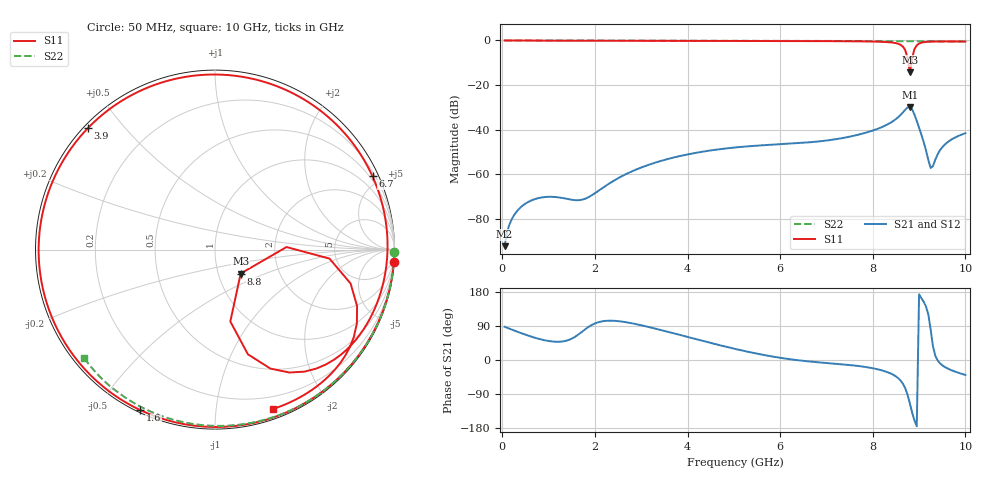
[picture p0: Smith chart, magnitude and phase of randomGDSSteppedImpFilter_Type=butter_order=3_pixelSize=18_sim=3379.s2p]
! freq	dB(S11)	phase(S11)	dB(S12)	phase(S12)
!  dB(S21)	phase(S21)	dB(S22)	phase(S22)
!S-par simulation data
#  GHz  S  DB  R 50
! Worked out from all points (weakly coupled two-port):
!   200 points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, 50 MHz to 10 GHz, reference 50 ohm
!   highest |S21| = -29.73 dB at 8.8 GHz (marker M1); lowest = -92.1 dB at 50 MHz (marker M2)
!   lowest |S11| = -14.2 dB at 8.8 GHz (marker M3), VSWR 1.49, Z = 64 - j17.7 ohm
!   |S11| at or under -10 dB: 8.768 GHz to 8.834 GHz (66.22 MHz wide, 0.752 % of centre)
!   |S22| runs from -0.5 to 0.0 dB; largest |S21 - S12| = 0
!   S11 on the Smith chart (normalised r, x): 50 MHz: 0, -28; 1.6 GHz: 0.01, -0.64; 3.9 GHz: 0.01, +0.40; 6.7 GHz: 0.35, +4.50; 8.8 GHz: 1.28, -0.35; 10 GHz: 0.09, -1.43
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0.05  -0.00 -4.1  -92.11 87.6  -92.11 87.6  -0.00 -0.8
0.2  -0.02 -16.3  -80.21 80.4  -80.21 80.4  -0.00 -3.3
0.4  -0.05 -32.2  -74.65 71.2  -74.65 71.2  -0.01 -6.5
0.85  -0.08 -66.1  -70.29 53.9  -70.29 53.9  -0.02 -13.7
1.6  -0.12 -115.0  -71.53 63.5  -71.53 63.5  -0.03 -25.7
1.75  -0.12 -123.6  -71.15 77.2  -71.15 77.2  -0.04 -28.0
2.55  -0.14 -164.8  -61.13 101.9  -61.13 101.9  -0.05 -40.4
3.4  -0.17 157.2  -54.09 79.9  -54.09 79.9  -0.07 -53.3
3.9  -0.18 136.2  -51.46 64.0  -51.46 64.0  -0.08 -60.6
5.05  -0.22 89.5  -47.87 28.6  -47.87 28.6  -0.12 -77.0
5.8  -0.24 59.7  -46.71 9.8  -46.71 9.8  -0.15 -87.2
6.7  -0.28 24.9  -45.48 -4.7  -45.48 -4.7  -0.19 -99.1
7.6  -0.38 -8.7  -42.63 -14.5  -42.63 -14.5  -0.25 -110.7
8.35  -0.79 -40.0  -37.25 -33.7  -37.25 -33.7  -0.31 -120.1
8.65  -2.72 -65.0  -32.23 -62.5  -32.23 -62.5  -0.34 -123.7
8.75  -7.75 -78.0  -30.00 -91.2  -30.00 -91.2  -0.35 -124.9
8.8  -14.17 -42.9  -29.73 -114.0  -29.73 -114.0  -0.35 -125.5
8.85  -7.99 2.0  -30.86 -138.8  -30.86 -138.8  -0.35 -126.2
8.95  -2.17 -14.0  -36.04 -175.0  -36.04 -175.0  -0.35 -127.4
9.25  -0.52 -42.3  -57.11 80.5  -57.11 80.5  -0.39 -131.2
9.55  -0.44 -55.3  -46.72 -18.0  -46.72 -18.0  -0.42 -134.8
10  -0.49 -69.9  -41.53 -39.5  -41.53 -39.5  -0.47 -140.4
